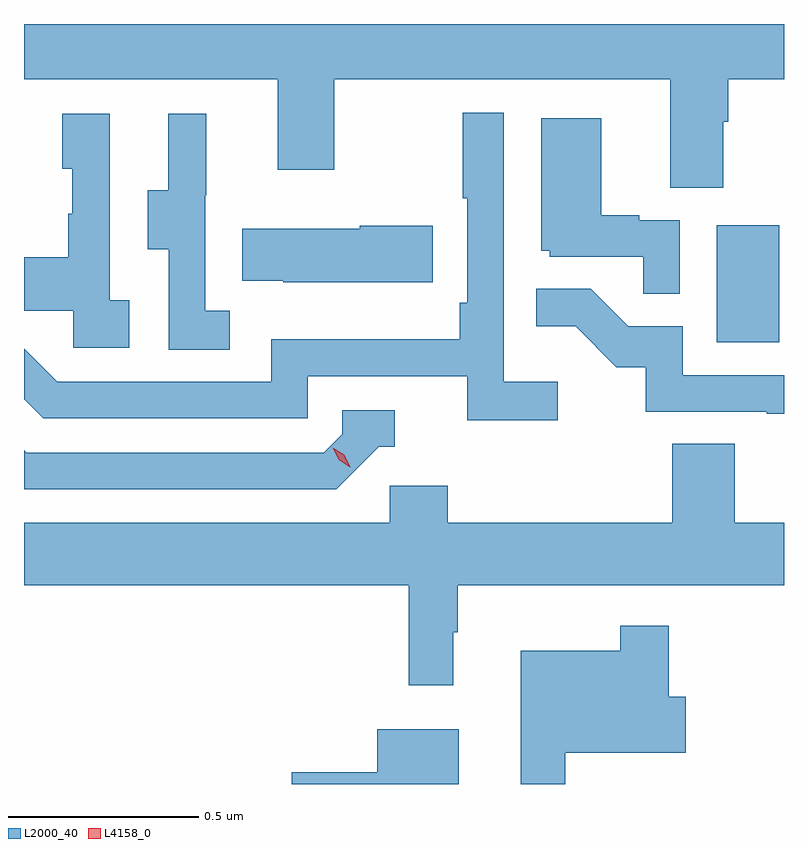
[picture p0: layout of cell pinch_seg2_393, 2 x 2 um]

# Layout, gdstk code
import gdstk
lib = gdstk.Library(unit=1e-6, precision=1e-09)
def R(c, l, rs):  # rectangles x0, y0, x1, y1
    for r in rs: c.add(gdstk.rectangle(r[:2], r[2:], *l))
def P(c, l, *ps):  # polygons
    for p in ps: c.add(gdstk.Polygon(p, *l))
L2000_40 = (2000, 40)
L4158_0 = (4158, 0)

pinch_seg2_393 = lib.new_cell('pinch_seg2_393')
R(pinch_seg2_393, L2000_40, [(994.31,610.98,994.474,611.287)])
P(pinch_seg2_393, L2000_40, [(994.327,611.56),(994.34,611.56),(994.34,611.672),(994.487,611.672),(994.487,611.817),(992.487,611.817),(992.487,611.672),(993.155,611.672),(993.155,611.433),(993.303,611.433),(993.303,611.672),(994.187,611.672),(994.187,611.386),(994.327,611.386)],
  [(993.892,610.876),(993.75,610.876),(993.75,611.584),(993.642,611.584),(993.642,611.359),(993.654,611.359),(993.654,611.083),(993.634,611.083),(993.634,610.987),(993.138,610.987),(993.138,610.875),(992.574,610.875),(992.487,610.962),(992.487,610.829),(992.537,610.779),(993.234,610.779),(993.234,610.89),(993.653,610.89),(993.653,610.774),(993.892,610.774)],
  [(992.764,611.09),(992.712,611.09),(992.712,611.581),(992.588,611.581),(992.588,611.436),(992.614,611.436),(992.614,611.318),(992.604,611.318),(992.604,611.203),(992.487,611.203),(992.487,611.063),(992.616,611.063),(992.616,610.965),(992.764,610.965)],
  [(993.028,611.063),(992.964,611.063),(992.964,611.367),(992.966,611.367),(992.966,611.581),(992.867,611.581),(992.867,611.379),(992.813,611.379),(992.813,611.224),(992.868,611.224),(992.868,610.96),(993.028,610.96)],
  [(994.212,611.301),(994.106,611.301),(994.106,611.314),(994.006,611.314),(994.006,611.569),(993.848,611.569),(993.848,611.22),(993.87,611.22),(993.87,611.205),(994.117,611.205),(994.117,611.107),(994.212,611.107)],
  [(993.562,611.286),(993.371,611.286),(993.371,611.278),(993.061,611.278),(993.061,611.141),(993.169,611.141),(993.169,611.138),(993.562,611.138)],
  [(994.487,610.893),(994.221,610.893),(994.221,611.022),(994.077,611.022),(993.979,611.12),(993.835,611.12),(993.835,611.021),(993.939,611.021),(994.046,610.914),(994.123,610.914),(994.123,610.797),(994.441,610.797),(994.441,610.792),(994.487,610.792)],
  [(993.42,610.704),(993.463,610.704),(993.463,610.8),(993.324,610.8),(993.324,610.737),(993.276,610.689),(992.493,610.689),(992.487,610.695),(992.487,610.593),(993.309,610.593)],
  [(993.616,610.217),(993.628,610.217),(993.628,610.34),(994.487,610.34),(994.487,610.504),(994.358,610.504),(994.358,610.712),(994.193,610.712),(994.193,610.504),(993.602,610.504),(993.602,610.602),(993.45,610.602),(993.45,610.504),(992.487,610.504),(992.487,610.34),(993.499,610.34),(993.499,610.077),(993.616,610.077)],
  [(993.911,609.899),(994.228,609.899),(994.228,610.047),(994.184,610.047),(994.184,610.234),(994.056,610.234),(994.056,610.168),(993.794,610.168),(993.794,609.817),(993.911,609.817)],
  [(993.631,609.961),(993.416,609.961),(993.416,609.848),(993.192,609.848),(993.192,609.817),(993.631,609.817)])
P(pinch_seg2_393, L4158_0, [(993.345,610.65),(993.315,610.67),(993.299,610.702),(993.299,610.702),(993.3,610.702),(993.33,610.683),(993.346,610.65),(993.346,610.65)])

lib.write_gds('pinch_seg2_393.gds')
